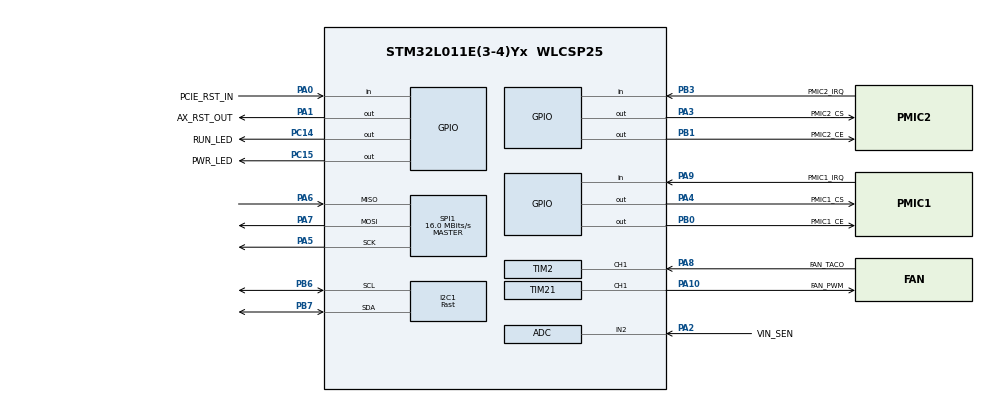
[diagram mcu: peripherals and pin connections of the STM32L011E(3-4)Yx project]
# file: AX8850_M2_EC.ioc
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ADC.ContinuousConvMode=ENABLE
ADC.DMAContinuousRequests=DISABLE
ADC.SamplingTime=ADC_SAMPLETIME_160CYCLES_5
ADC.ScanConvMode=ADC_SCAN_DIRECTION_FORWARD
I2C1.I2C_Speed_Mode=I2C_Fast
I2C1.OwnAddress=0x5C<<1
I2C1.Timing=0x0060112F
IWDG.Prescaler=IWDG_PRESCALER_64
Mcu.Family=STM32L0
Mcu.Name=STM32L011E(3-4)Yx
Mcu.Package=WLCSP25
NVIC.I2C1_IRQn=true\:0\:0\:false\:false\:true\:true\:true\:true
NVIC.TIM2_IRQn=true\:1\:0\:true\:false\:true\:true\:true\:true
PA0-CK_IN.GPIO_Label=PCIE_RST_IN
PA0-CK_IN.GPIO_PuPd=GPIO_PULLUP
PA0-CK_IN.Signal=GPIO_Input
PA1.GPIO_Label=AX_RST_OUT
PA1.GPIO_ModeDefaultOutputPP=GPIO_MODE_OUTPUT_OD
PA1.GPIO_PuPd=GPIO_PULLUP
PA1.Signal=GPIO_Output
PA10.GPIO_Label=FAN_PWM
PA10.GPIO_PuPd=GPIO_NOPULL
PA10.Signal=S_TIM21_CH1
PA13.Mode=Serial_Wire
PA13.Signal=SYS_SWDIO
PA14.Mode=Serial_Wire
PA14.Signal=SYS_SWCLK
PA2.GPIO_Label=VIN_SEN
PA2.Mode=IN2
PA2.Signal=ADC_IN2
PA3.GPIO_Label=PMIC2_CS
PA3.PinState=GPIO_PIN_SET
PA3.Signal=GPIO_Output
PA4.GPIO_Label=PMIC1_CS
PA4.PinState=GPIO_PIN_SET
PA4.Signal=GPIO_Output
PA5.GPIO_PuPd=GPIO_PULLUP
PA5.Mode=Full_Duplex_Master
PA5.Signal=SPI1_SCK
PA6.GPIO_PuPd=GPIO_PULLUP
PA6.Mode=Full_Duplex_Master
PA6.Signal=SPI1_MISO
PA7.GPIO_PuPd=GPIO_PULLUP
PA7.Mode=Full_Duplex_Master
PA7.Signal=SPI1_MOSI
PA8.GPIO_Label=FAN_TACO
PA8.GPIO_PuPd=GPIO_PULLUP
PA8.GPIO_Speed=GPIO_SPEED_FREQ_HIGH
PA8.Signal=S_TIM2_CH1
PA9.GPIO_Label=PMIC1_IRQ
PA9.GPIO_PuPd=GPIO_PULLUP
PA9.Signal=GPIO_Input
PB0.GPIO_Label=PMIC1_CE
PB0.Signal=GPIO_Output
PB1.GPIO_Label=PMIC2_CE
PB1.Signal=GPIO_Output
PB3.GPIO_Label=PMIC2_IRQ
PB3.GPIO_PuPd=GPIO_PULLUP
PB3.Signal=GPIO_Input
PB6.GPIO_Pu=GPIO_PULLUP
PB6.Mode=I2C
PB6.Signal=I2C1_SCL
PB7.GPIO_Pu=GPIO_PULLUP
PB7.Mode=I2C
PB7.Signal=I2C1_SDA
PC14-OSC32_IN.GPIO_Label=RUN_LED
PC14-OSC32_IN.Signal=GPIO_Output
PC15-OSC32_OUT.GPIO_Label=PWR_LED
PC15-OSC32_OUT.GPIO_ModeDefaultOutputPP=GPIO_MODE_OUTPUT_PP
PC15-OSC32_OUT.GPIO_PuPd=GPIO_NOPULL
PC15-OSC32_OUT.PinState=GPIO_PIN_SET
PC15-OSC32_OUT.Signal=GPIO_Output
ProjectManager.HeapSize=0x200
ProjectManager.StackSize=0x400
ProjectManager.TargetToolchain=STM32CubeIDE
RCC.AHBFreq_Value=32000000
RCC.APB1Freq_Value=32000000
RCC.APB1TimFreq_Value=32000000
RCC.APB2Freq_Value=32000000
RCC.APB2TimFreq_Value=32000000
RCC.HCLKFreq_Value=32000000
RCC.HSE_VALUE=8000000
RCC.HSI16_VALUE=16000000
RCC.HSI_VALUE=16000000
RCC.LSE_VALUE=32768
RCC.MSI_VALUE=2097000
RCC.PLLMUL=RCC_PLLMUL_4
RCC.SYSCLKFreq_VALUE=32000000
RCC.SYSCLKSource=RCC_SYSCLKSOURCE_PLLCLK
RCC.VCOOutputFreq_Value=64000000
SH.S_TIM21_CH1.0=TIM21_CH1,PWM Generation1 CH1
SH.S_TIM2_CH1.0=TIM2_CH1,Input_Capture1_from_TI1
SPI1.CalculateBaudRate=16.0 MBits/s
SPI1.Direction=SPI_DIRECTION_2LINES
SPI1.Mode=SPI_MODE_MASTER
SPI1.VirtualType=VM_MASTER
SYS.PVDLevel=PWR_PVDLEVEL_4
TIM2.Channel-Input_Capture1_from_TI1=TIM_CHANNEL_1
TIM2.Prescaler=31
TIM21.Channel-PWM\ Generation1\ CH1=TIM_CHANNEL_1
TIM21.Period=1599
VP_ADC_TempSens_Input.Mode=IN-TempSens
VP_ADC_Vref_Input.Mode=IN-Vrefint
VP_IWDG_VS_IWDG.Mode=IWDG_Activate
VP_SYS_V_PVD_IN.Mode=Mode_PVD_Int
VP_TIM21_VS_ClockSourceINT.Mode=Internal
VP_TIM2_VS_ClockSourceINT.Mode=Internal
board=custom

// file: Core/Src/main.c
/* USER CODE BEGIN Header */
/**
 ******************************************************************************
 * @file           : main.c
 * @brief          : Main program body
 ******************************************************************************
 * @attention
 *
 * Copyright (c) 2025 STMicroelectronics.
 * All rights reserved.
 *
 * This software is licensed under terms that can be found in the LICENSE file
 * in the root directory of this software component.
 * If no LICENSE file comes with this software, it is provided AS-IS.
 *
 ******************************************************************************
 */
/* USER CODE END Header */
#include "main.h"
#include "adc.h"
#include "i2c.h"
#include "iwdg.h"
#include "spi.h"
#include "tim.h"
#include "gpio.h"

/* USER CODE BEGIN Includes */
#include "power.h"
#include "i2c_ex.h"
#include "stm32l0xx_ll_adc.h"
/* USER CODE END Includes */

/* USER CODE BEGIN PTD */

typedef struct {
    uint8_t reg_addr;
    uint8_t data_len;
    const uint8_t *data_ptr;
} reg_info_t;

/* USER CODE END PTD */

/* USER CODE BEGIN PD */

#define FAN_PWM_DUTY_REG    (0x00)  // R/W
#define FAN_RPM_REG         (0x10)  // R
#define VIN_SYS_VOLTAGE_REG (0x20)  // R
#define TEMPERATURE_REG     (0x30)  // R
#define PMIC_VOLT_FINE_REG  (0x40)  // R/W
#define HW_VERSION_REG      (0xFD)  // R
#define SW_VERSION_REG      (0xFE)  // R
#define I2C_ADDRESS_REG     (0xFF)  // R

#define FAN_PWM_DUTY_MIN    (20)
#define FAN_PWM_DUTY_MAX    (100)
#define FW_PWM_DUTY_DEFAULT (0x64)
#define HW_VERSION_DEFAULT  (0x01)
#define SW_VERSION_DEFAULT  (0x01)
#define I2C_DEFAULT_ADDR    (0x5C)

/* USER CODE END PD */

/* USER CODE BEGIN PM */
__IO uint8_t fan_pwm_duty_reg      = FW_PWM_DUTY_DEFAULT;
__IO uint16_t fan_rpm_reg          = 0;
__IO uint16_t vin_sys_voltage_reg  = 0;
__IO uint16_t temperature_reg      = 0;
__IO uint8_t pmic_volt_fine_reg[4] = {0};
__IO uint8_t version_reg[2]        = {HW_VERSION_DEFAULT, SW_VERSION_DEFAULT};
__IO uint8_t i2c_address_reg       = I2C_DEFAULT_ADDR;

__IO uint8_t map_pmic[2] = {0};

__IO uint8_t fan_pwm_duty_update_flag      = 0;
__IO uint8_t pmic_volt_fine_update_flag[4] = {0};

__IO uint8_t tx_buf[4]                        = {0};
__IO uint32_t i2c_stop_timeout_delay          = 0;
__IO uint16_t adc_value_buf[ADC_CHANNEL_NUMS] = {0};
__IO uint32_t adc_collect_timer               = 0;
__IO uint32_t crr1 = 0, crr2 = 0, crr3 = 0;
__IO uint32_t freq       = 0;
__IO uint32_t duty       = 0;
__IO uint8_t measure_cnt = 1;
__IO uint32_t fan_rpm_timer;

/* USER CODE END PM */

void SystemClock_Config(void);

/* USER CODE BEGIN 0 */

static void capture(void)
{
    uint32_t diff1 = 0, diff2 = 0;
    uint32_t max_cnt = __HAL_TIM_GET_AUTORELOAD(&htim2);

    if (crr2 >= crr1){
    	diff1 = crr2 - crr1;
    }else{
    	diff1 = (max_cnt + 1) + crr2 - crr1;
    }

    if (crr3 >= crr1){
    	diff2 = crr3 - crr1;
    }else{
    	diff2 = (max_cnt + 1) + crr3 - crr1;
    }

    if (diff2 == 0) {
        freq        = 0;
        fan_rpm_reg = 0;
        duty        = 0;
        return;
    }

    freq        = TIMER_CLOCK_HZ / diff2;
    duty        = diff1 * 100 / diff2;
    fan_rpm_reg = freq * (60 / FAN_PULSE_PER_REV);
}

static void fan_pwm_duty_update(void)
{
    uint16_t compare_value = (uint16_t)(fan_pwm_duty_reg * 16);
    LL_TIM_OC_SetCompareCH1(TIM21, compare_value);
}

static void check_pcie_rst_event(void)
{
    static GPIO_PinState lastState = GPIO_PIN_SET;  // 上一次状态，初始为高电平
    GPIO_PinState currentState     = HAL_GPIO_ReadPin(PCIE_RST_IN_GPIO_Port, PCIE_RST_IN_Pin);

    if (currentState != lastState) {
        GPIO_PinState confirmState = HAL_GPIO_ReadPin(PCIE_RST_IN_GPIO_Port, PCIE_RST_IN_Pin);

        if (confirmState == currentState) {
            lastState = currentState;  // 确认变化后再更新状态缓存

            if (currentState == GPIO_PIN_RESET) {
                // RST 被拉低,拉低8850的复位，等待10ms之后拉高
                LL_GPIO_ResetOutputPin(AX_RST_OUT_GPIO_Port, AX_RST_OUT_Pin);  // 拉低RST

                // 关PMIC所有电源
                system_power_shutdown();

                LL_mDelay(10);

                // 软件复位
                NVIC_SystemReset();

                while(1){

                }

//                LL_GPIO_SetOutputPin(AX_RST_OUT_GPIO_Port, AX_RST_OUT_Pin);  // 拉高RST
            }
        }
    }
}

static void adc_read_all_channels(void)
{
    uint32_t sum[ADC_CHANNEL_NUMS] = {0};

    if (HAL_ADC_Start(&hadc) != HAL_OK) {
        return;
    }

    for (uint8_t sample = 0; sample < ADC_SAMPLE_COUNT; sample++) {
        for (uint8_t ch = 0; ch < ADC_CHANNEL_NUMS; ch++) {
            if (HAL_ADC_PollForConversion(&hadc, 100) == HAL_OK) {
                sum[ch] += HAL_ADC_GetValue(&hadc);
            }
        }
    }

    HAL_ADC_Stop(&hadc);

    for (uint8_t ch = 0; ch < ADC_CHANNEL_NUMS; ch++) {
        adc_value_buf[ch] = (uint16_t)(sum[ch] / ADC_SAMPLE_COUNT);
    }
}

static void adc_value_process(void)
{
    uint16_t vref_mV    = __LL_ADC_CALC_VREFANALOG_VOLTAGE(adc_value_buf[1], LL_ADC_RESOLUTION_12B);
    vin_sys_voltage_reg = __LL_ADC_CALC_DATA_TO_VOLTAGE(vref_mV, adc_value_buf[0], LL_ADC_RESOLUTION_12B) * 2;
    temperature_reg =
        __LL_ADC_CALC_TEMPERATURE_TYP_PARAMS(1610, 670, 130, vref_mV, adc_value_buf[2], LL_ADC_RESOLUTION_12B);
}

static void handle_write_operation(uint8_t reg, uint8_t *rx_data, uint16_t len)
{
    if (reg == FAN_PWM_DUTY_REG && len == 2) {
        uint8_t new_duty = rx_data[1];
        if (fan_pwm_duty_reg != new_duty && new_duty >= FAN_PWM_DUTY_MIN && new_duty <= FAN_PWM_DUTY_MAX) {
            fan_pwm_duty_reg         = new_duty;
            fan_pwm_duty_update_flag = 1;
        }
        return;
    }

    if (reg >= PMIC_VOLT_FINE_REG && reg <= (PMIC_VOLT_FINE_REG + 3)) {
        uint8_t start_idx   = reg - PMIC_VOLT_FINE_REG;
        uint8_t max_count   = 4 - start_idx;
        uint8_t write_count = len - 1;

        if (write_count > max_count) write_count = max_count;

        for (uint8_t i = 0; i < write_count; i++) {
            uint8_t idx     = start_idx + i;
            uint8_t new_val = rx_data[1 + i];
            uint8_t low7    = new_val & 0x7F;

            if (pmic_volt_fine_reg[idx] != new_val && low7 <= 20) {
                pmic_volt_fine_reg[idx]         = new_val;
                pmic_volt_fine_update_flag[idx] = 1;
            }
        }
    }
}

static void handle_read_operation(uint8_t reg)
{
    static const reg_info_t reg_table[] = {{FAN_RPM_REG, 2, (uint8_t *)&fan_rpm_reg},
                                           {VIN_SYS_VOLTAGE_REG, 2, (uint8_t *)&vin_sys_voltage_reg},
                                           {TEMPERATURE_REG, 2, (uint8_t *)&temperature_reg},
                                           {HW_VERSION_REG, 2, version_reg}};

    if (reg == FAN_PWM_DUTY_REG) {
        tx_buf[0] = fan_pwm_duty_reg;
        i2c1_set_send_data(tx_buf, 1);
        return;
    }

    if (reg == I2C_ADDRESS_REG) {
        tx_buf[0] = i2c_address_reg;
        i2c1_set_send_data(tx_buf, 1);
        return;
    }

//    if (reg == 0x50) {
//        tx_buf[0] = map_pmic[0];
//        i2c1_set_send_data(tx_buf, 1);
//        return;
//    }
//
//    if (reg == 0x60) {
//        tx_buf[0] = map_pmic[1];
//        i2c1_set_send_data(tx_buf, 1);
//        return;
//    }

    if (reg >= PMIC_VOLT_FINE_REG && reg <= (PMIC_VOLT_FINE_REG + 3)) {
        uint8_t start_idx = reg - PMIC_VOLT_FINE_REG;
        uint8_t data_len  = 4 - start_idx;

        for (uint8_t i = 0; i < data_len; i++) {
            tx_buf[i] = pmic_volt_fine_reg[start_idx + i];
        }
        i2c1_set_send_data(tx_buf, data_len);
        return;
    }

    for (uint8_t i = 0; i < sizeof(reg_table) / sizeof(reg_table[0]); i++) {
        const reg_info_t *info = &reg_table[i];
        if (reg >= info->reg_addr && reg <= (info->reg_addr + info->data_len - 1)) {
            uint8_t offset   = reg - info->reg_addr;
            uint8_t data_len = info->data_len - offset;
            if (info->data_len == 2) {
                uint16_t val = *(uint16_t *)info->data_ptr;
                tx_buf[0]    = val & 0xFF;
                tx_buf[1]    = (val >> 8) & 0xFF;
                i2c1_set_send_data(tx_buf + offset, data_len);
            } else {
                memcpy(tx_buf, info->data_ptr + offset, data_len);
                i2c1_set_send_data(tx_buf, data_len);
            }
            return;
        }
    }
    tx_buf[0] = 0xFF;
    i2c1_set_send_data(tx_buf, 1);
}

void Slave_Complete_Callback(uint8_t *rx_data, uint16_t len)
{
    if (len == 0) return;

    uint8_t reg = rx_data[0];

    if (len > 1) {
        handle_write_operation(reg, rx_data, len);
    } else {
        handle_read_operation(reg);
    }
}

/* USER CODE END 0 */

int main(void)
{

    /* MCU Configuration--------------------------------------------------------*/

    /* Reset of all peripherals, Initializes the Flash interface and the Systick. */
    HAL_Init();

    /* Configure the system clock */
    SystemClock_Config();

    /* Initialize all configured peripherals */
    MX_GPIO_Init();
    MX_ADC_Init();
    MX_I2C1_Init();
    MX_SPI1_Init();
    MX_TIM2_Init();
    MX_TIM21_Init();
    // MX_IWDG_Init();
    /* USER CODE BEGIN 2 */
    user_i2c_init();
    i2c1_it_enable();
    LL_TIM_EnableCounter(TIM21);
    LL_TIM_CC_EnableChannel(TIM21, LL_TIM_CHANNEL_CH1);
    LL_TIM_OC_SetCompareCH1(TIM21, 0);
    system_power_boot();
    HAL_ADCEx_Calibration_Start(&hadc, ADC_SINGLE_ENDED);
    MX_IWDG_Init();
    /* USER CODE END 2 */

    /* Infinite loop */
    /* USER CODE BEGIN WHILE */
    while (1) {
        check_pcie_rst_event();

        if (fan_pwm_duty_update_flag) {
            fan_pwm_duty_update();
            fan_pwm_duty_update_flag = 0;
        }

        if (pmic_volt_fine_update_flag[0]) {
            pmic1_m1_fine_tuning(pmic_volt_fine_reg[0]);
            pmic_volt_fine_update_flag[0] = 0;
        }

        if (pmic_volt_fine_update_flag[1]) {
            pmic1_m3_fine_tuning(pmic_volt_fine_reg[1]);
            pmic_volt_fine_update_flag[1] = 0;
        }

        if (pmic_volt_fine_update_flag[2]) {
            pmic2_m1_fine_tuning(pmic_volt_fine_reg[2]);
            pmic_volt_fine_update_flag[2] = 0;
        }

        if (pmic_volt_fine_update_flag[3]) {
            pmic2_m3_fine_tuning(pmic_volt_fine_reg[3]);
            pmic_volt_fine_update_flag[3] = 0;
        }

        if (HAL_GetTick() - adc_collect_timer > ADC_COLLECT_INTERVAL_MS) {
            adc_collect_timer = HAL_GetTick();
            adc_read_all_channels();
            adc_value_process();

//            max77812_read_reg(MAX77812_PMIC1,0x05,&map_pmic[0]);
//            max77812_read_reg(MAX77812_PMIC2,0x05,&map_pmic[1]);

        }

        if ((HAL_GetTick() - fan_rpm_timer) > SAMPLE_INTERVAL) {
            capture();
            crr1 = crr2 = crr3 = 0;
            fan_rpm_timer      = HAL_GetTick();
            HAL_TIM_IC_Start_IT(&htim2, TIM_CHANNEL_1);
        }

        i2c_timeout_counter = 0;
        if (i2c_stop_timeout_flag) {
            if (i2c_stop_timeout_delay < HAL_GetTick()) {
                i2c_stop_timeout_counter++;
                i2c_stop_timeout_delay = HAL_GetTick() + 10;
            }
        }
        if (i2c_stop_timeout_counter > 50) {
            LL_I2C_DeInit(I2C1);
            LL_I2C_DisableAutoEndMode(I2C1);
            LL_I2C_Disable(I2C1);
            LL_I2C_DisableIT_ADDR(I2C1);
            user_i2c_init();
            i2c1_it_enable();
            LL_mDelay(500);
        }

        /* USER CODE END WHILE */

        /* USER CODE BEGIN 3 */

        LL_IWDG_ReloadCounter(IWDG);
    }
    /* USER CODE END 3 */
}

void SystemClock_Config(void)
{
    LL_FLASH_SetLatency(LL_FLASH_LATENCY_1);
    while (LL_FLASH_GetLatency() != LL_FLASH_LATENCY_1) {
    }
    LL_PWR_SetRegulVoltageScaling(LL_PWR_REGU_VOLTAGE_SCALE1);
    while (LL_PWR_IsActiveFlag_VOS() != 0) {
    }
    LL_RCC_HSI_Enable();

    /* Wait till HSI is ready */
    while (LL_RCC_HSI_IsReady() != 1) {
    }
    LL_RCC_HSI_SetCalibTrimming(16);
    LL_RCC_LSI_Enable();

    /* Wait till LSI is ready */
    while (LL_RCC_LSI_IsReady() != 1) {
    }
    LL_RCC_PLL_ConfigDomain_SYS(LL_RCC_PLLSOURCE_HSI, LL_RCC_PLL_MUL_4, LL_RCC_PLL_DIV_2);
    LL_RCC_PLL_Enable();

    /* Wait till PLL is ready */
    while (LL_RCC_PLL_IsReady() != 1) {
    }
    LL_RCC_SetAHBPrescaler(LL_RCC_SYSCLK_DIV_1);
    LL_RCC_SetAPB1Prescaler(LL_RCC_APB1_DIV_1);
    LL_RCC_SetAPB2Prescaler(LL_RCC_APB2_DIV_1);
    LL_RCC_SetSysClkSource(LL_RCC_SYS_CLKSOURCE_PLL);

    /* Wait till System clock is ready */
    while (LL_RCC_GetSysClkSource() != LL_RCC_SYS_CLKSOURCE_STATUS_PLL) {
    }
    LL_SetSystemCoreClock(32000000);

    /* Update the time base */
    if (HAL_InitTick(TICK_INT_PRIORITY) != HAL_OK) {
        Error_Handler();
    }
    LL_RCC_SetI2CClockSource(LL_RCC_I2C1_CLKSOURCE_PCLK1);
}

/* USER CODE BEGIN 4 */
void HAL_TIM_IC_CaptureCallback(TIM_HandleTypeDef *htim)
{
    if (htim == &htim2) {
        uint32_t value = HAL_TIM_ReadCapturedValue(&htim2, TIM_CHANNEL_1);
        switch (measure_cnt) {
            case 1:
                crr1 = value;
                __HAL_TIM_SET_CAPTUREPOLARITY(&htim2, TIM_CHANNEL_1,
                                              TIM_INPUTCHANNELPOLARITY_FALLING);
                measure_cnt = 2;
                break;

            case 2:
                crr2 = value;
                __HAL_TIM_SET_CAPTUREPOLARITY(&htim2, TIM_CHANNEL_1,
                                              TIM_INPUTCHANNELPOLARITY_RISING);
                measure_cnt = 3;
                break;

            case 3:
                crr3 = value;
                HAL_TIM_IC_Stop_IT(&htim2, TIM_CHANNEL_1);
                measure_cnt = 1;
                break;

            default:
                HAL_TIM_IC_Stop_IT(&htim2, TIM_CHANNEL_1);
                measure_cnt = 1;
                break;
        }
    }
}
/* USER CODE END 4 */

void Error_Handler(void)
{
    __disable_irq();
    while (1) {
    }
}
